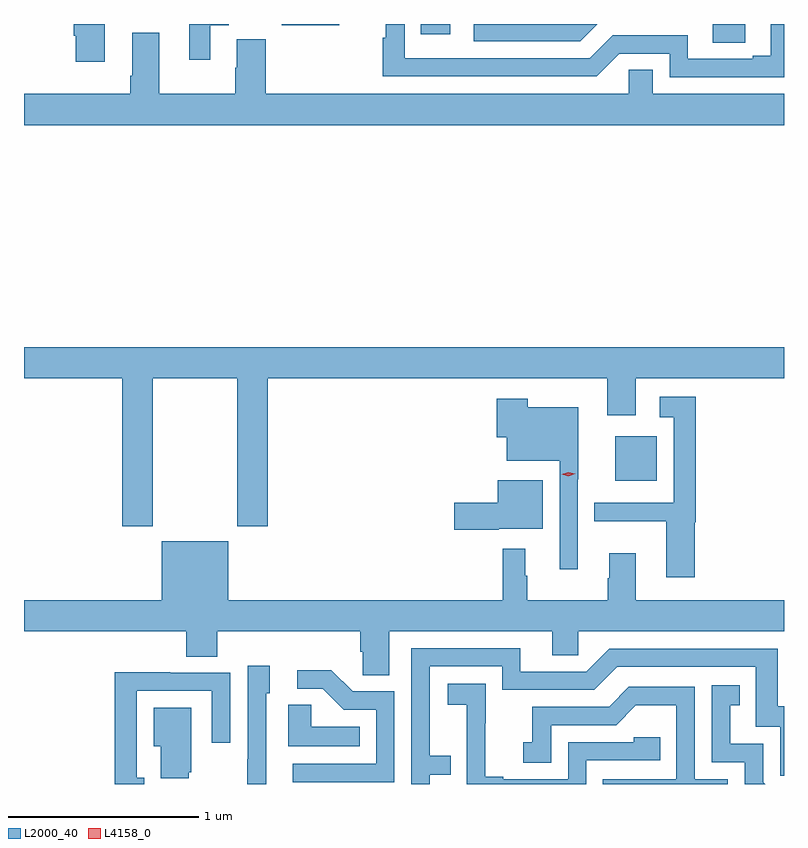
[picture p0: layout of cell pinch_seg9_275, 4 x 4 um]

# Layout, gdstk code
import gdstk
lib = gdstk.Library(unit=1e-6, precision=1e-09)
def R(c, l, rs):  # rectangles x0, y0, x1, y1
    for r in rs: c.add(gdstk.rectangle(r[:2], r[2:], *l))
def P(c, l, *ps):  # polygons
    for p in ps: c.add(gdstk.Polygon(p, *l))
L2000_40 = (2000, 40)
L4158_0 = (4158, 0)

pinch_seg9_275 = lib.new_cell('pinch_seg9_275')
R(pinch_seg9_275, L2000_40, [(420.164,1166.576,420.382,1166.809), (420.676,1168.882,420.847,1168.98), (419.14,1168.926,419.295,1168.98), (418.408,1168.974,418.71,1168.98)])
P(pinch_seg9_275, L2000_40, [(420.069,1168.98),(419.418,1168.98),(419.418,1168.89),(419.979,1168.89)],
  [(417.478,1168.98),(417.314,1168.98),(417.314,1168.917),(417.325,1168.917),(417.325,1168.782),(417.478,1168.782)],
  [(421.052,1168.98),(420.983,1168.98),(420.983,1168.812),(420.887,1168.812),(420.887,1168.797),(420.546,1168.797),(420.546,1168.92),(420.15,1168.92),(420.03,1168.8),(419.055,1168.8),(419.055,1168.98),(418.957,1168.98),(418.957,1168.907),(418.939,1168.907),(418.939,1168.704),(420.066,1168.704),(420.186,1168.824),(420.45,1168.824),(420.45,1168.701),(421.052,1168.701)],
  [(418.033,1168.974),(418.129,1168.974),(418.129,1168.98),(417.923,1168.98),(417.923,1168.791),(418.033,1168.791)],
  [(421.052,1168.612),(420.361,1168.612),(420.361,1168.739),(420.234,1168.739),(420.234,1168.612),(418.325,1168.612),(418.325,1168.901),(418.172,1168.901),(418.172,1168.751),(418.165,1168.751),(418.165,1168.612),(417.763,1168.612),(417.763,1168.933),(417.623,1168.933),(417.623,1168.708),(417.611,1168.708),(417.611,1168.612),(417.052,1168.612),(417.052,1168.448),(421.052,1168.448)],
  [(417.729,1167.116),(418.174,1167.116),(418.174,1166.337),(418.334,1166.337),(418.334,1167.116),(420.122,1167.116),(420.122,1166.922),(420.271,1166.922),(420.271,1167.116),(421.052,1167.116),(421.052,1167.28),(417.052,1167.28),(417.052,1167.116),(417.569,1167.116),(417.569,1166.337),(417.729,1166.337)],
  [(420.581,1166.357),(420.587,1166.357),(420.587,1167.019),(420.399,1167.019),(420.399,1166.909),(420.471,1166.909),(420.471,1166.46),(420.052,1166.46),(420.052,1166.363),(420.431,1166.363),(420.431,1166.067),(420.581,1166.067)],
  [(419.967,1166.585),(419.969,1166.585),(419.969,1166.962),(419.704,1166.962),(419.704,1167.007),(419.54,1167.007),(419.54,1166.804),(419.594,1166.804),(419.594,1166.681),(419.871,1166.681),(419.871,1166.109),(419.967,1166.109)],
  [(419.55,1166.324),(419.782,1166.324),(419.782,1166.578),(419.546,1166.578),(419.546,1166.459),(419.316,1166.459),(419.316,1166.317),(419.55,1166.317)],
  [(418.975,1165.784),(419.831,1165.784),(419.831,1165.657),(419.97,1165.657),(419.97,1165.784),(421.052,1165.784),(421.052,1165.948),(420.271,1165.948),(420.271,1166.194),(420.131,1166.194),(420.131,1166.063),(420.124,1166.063),(420.124,1165.948),(419.701,1165.948),(419.701,1166.075),(419.69,1166.075),(419.69,1166.218),(419.572,1166.218),(419.572,1165.948),(418.126,1165.948),(418.126,1166.257),(417.776,1166.257),(417.776,1165.948),(417.052,1165.948),(417.052,1165.784),(417.905,1165.784),(417.905,1165.651),(418.07,1165.651),(418.07,1165.784),(418.823,1165.784),(418.823,1165.675),(418.836,1165.675),(418.836,1165.552),(418.975,1165.552)],
  [(419.187,1165.029),(419.297,1165.029),(419.297,1165.13),(419.187,1165.13),(419.187,1165.599),(419.568,1165.599),(419.568,1165.476),(420.054,1165.476),(420.174,1165.596),(420.903,1165.596),(420.903,1165.281),(421.032,1165.281),(421.032,1165.023),(421.052,1165.023),(421.052,1165.39),(421.019,1165.39),(421.019,1165.692),(420.132,1165.692),(420.012,1165.572),(419.665,1165.572),(419.665,1165.695),(419.091,1165.695),(419.091,1164.98),(419.187,1164.98)],
  [(418.326,1165.458),(418.345,1165.458),(418.345,1165.603),(418.23,1165.603),(418.23,1165.109),(418.228,1165.109),(418.228,1164.98),(418.326,1164.98)],
  [(419.001,1165.467),(418.782,1165.467),(418.669,1165.58),(418.491,1165.58),(418.491,1165.482),(418.625,1165.482),(418.736,1165.371),(418.905,1165.371),(418.905,1165.086),(418.467,1165.086),(418.467,1164.99),(419.001,1164.99)],
  [(417.685,1165.014),(417.645,1165.014),(417.645,1165.47),(418.041,1165.47),(418.041,1165.197),(418.137,1165.197),(418.137,1165.566),(417.821,1165.566),(417.821,1165.568),(417.529,1165.568),(417.529,1164.98),(417.685,1164.98)],
  [(420.012,1165.104),(420.401,1165.104),(420.401,1165.227),(420.261,1165.227),(420.261,1165.2),(419.916,1165.2),(419.916,1165.005),(419.575,1165.005),(419.575,1165.018),(419.48,1165.018),(419.48,1165.301),(419.481,1165.301),(419.481,1165.507),(419.283,1165.507),(419.283,1165.397),(419.381,1165.397),(419.381,1165.169),(419.382,1165.169),(419.382,1164.98),(420.012,1164.98)],
  [(420.942,1164.99),(420.942,1165.191),(420.769,1165.191),(420.769,1165.395),(420.818,1165.395),(420.818,1165.501),(420.672,1165.501),(420.672,1165.095),(420.846,1165.095),(420.846,1164.98),(420.952,1164.98)],
  [(420.756,1165.005),(420.582,1165.005),(420.582,1165.491),(420.236,1165.491),(420.131,1165.386),(419.728,1165.386),(419.728,1165.201),(419.679,1165.201),(419.679,1165.092),(419.826,1165.092),(419.826,1165.29),(420.168,1165.29),(420.272,1165.394),(420.486,1165.394),(420.486,1165.005),(420.097,1165.005),(420.097,1164.98),(420.756,1164.98)],
  [(418.82,1165.282),(418.563,1165.282),(418.563,1165.397),(418.442,1165.397),(418.442,1165.178),(418.82,1165.178)],
  [(417.92,1165.041),(417.931,1165.041),(417.931,1165.381),(417.734,1165.381),(417.734,1165.178),(417.773,1165.178),(417.773,1165.01),(417.92,1165.01)])
P(pinch_seg9_275, L4158_0, [(419.917,1166.601),(419.881,1166.609),(419.881,1166.609),(419.881,1166.61),(419.916,1166.621),(419.953,1166.612),(419.953,1166.612),(419.953,1166.612)])

lib.write_gds('pinch_seg9_275.gds')
